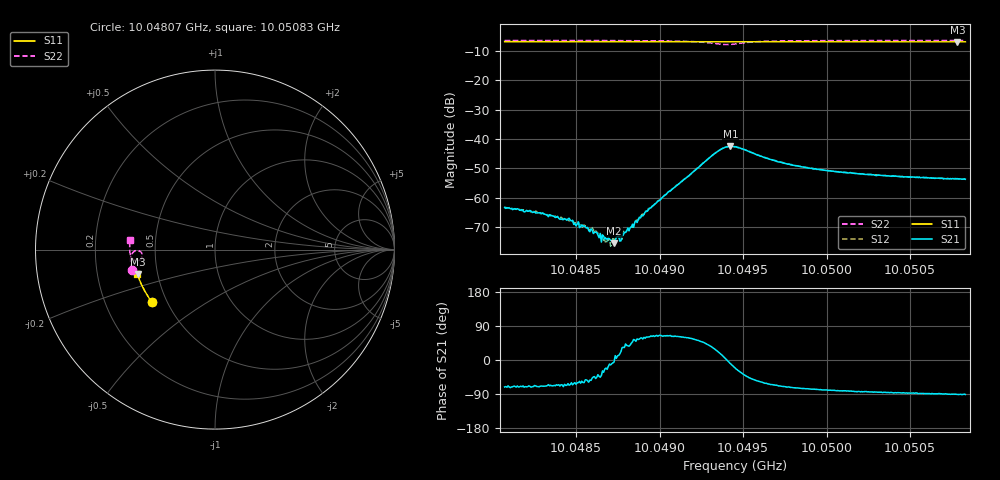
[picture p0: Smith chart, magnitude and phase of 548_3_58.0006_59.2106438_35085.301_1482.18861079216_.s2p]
#  HZ  S  RI  R  50.00
! Rohde & Schwarz Vector Network Analyzer
! Rohde-Schwarz,ZNB20-2Port,1311601062101988,3.16
! Created: UTC 3/21/2024, 1:14:53 AM
! freq[Hz]  re:S11  im:S11  re:S21  im:S21  re:S12  im:S12  re:S22  im:S22
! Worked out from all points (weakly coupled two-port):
!   401 points, 10.04807 GHz to 10.05083 GHz, reference 50 ohm
!   highest |S21| = -42.48 dB at 10.04942 GHz (marker M1); lowest = -75.5 dB at 10.04873 GHz (marker M2)
!   lowest |S11| = -6.9 dB at 10.05078 GHz (marker M3), VSWR 2.65, Z = 19.2 - j6.61 ohm
!   |S11| at or under -10 dB: nowhere
!   |S22| runs from -7.8 to -6.4 dB; largest |S21 - S12| = 0.00054
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1.0048073e10  -0.3503 -0.2934  0.000222 -0.000649  0.000271 -0.000603  -0.4639 -0.1139
1.0048266e10  -0.358 -0.2833  0.000187 -0.000518  0.000208 -0.000536  -0.4666 -0.1007
1.0048466e10  -0.3657 -0.2726  0.000175 -0.000375  0.000222 -0.000355  -0.4688 -0.0862
1.0048535e10  -0.3681 -0.2688  0.000193 -0.000285  0.000162 -0.000263  -0.4693 -0.081
1.0048631e10  -0.372 -0.2636  0.000182 -0.000146  0.000188 -0.00016  -0.4702 -0.0733
1.0048638e10  -0.3722 -0.2632  0.000152 -0.000143  0.000207 -0.00015  -0.4703 -0.0729
1.004868e10  -0.3737 -0.261  0.000196 -7.7e-05  0.000147 -7.81e-05  -0.4704 -0.0696
1.0048721e10  -0.3751 -0.2586  0.000188 -2.58e-05  0.000201 -2.37e-05  -0.4705 -0.0661
1.0048728e10  -0.3754 -0.2581  0.000167 -1.64e-05  0.000176 1.24e-05  -0.4704 -0.0655
1.0048776e10  -0.3771 -0.2557  0.000187 0.000119  0.000178 8.38e-05  -0.4705 -0.0616
1.0048797e10  -0.3778 -0.2546  0.000189 0.000173  0.000196 0.000171  -0.4706 -0.0597
1.0048824e10  -0.3788 -0.2529  0.000238 0.000196  0.000198 0.000239  -0.4707 -0.0573
1.0048859e10  -0.38 -0.251  0.000261 0.000305  0.000228 0.000342  -0.4706 -0.0542
1.0048997e10  -0.3846 -0.2432  0.000383 0.000809  0.000373 0.000821  -0.4691 -0.0407
1.0049335e10  -0.3951 -0.2236  0.00516 0.00267  0.00498 0.00302  -0.4223 -0.00739
1.0049424e10  -0.3974 -0.2189  0.00741 -0.00125  0.00748 -0.000766  -0.406 -0.0422
1.0049452e10  -0.3985 -0.2173  0.00691 -0.00267  0.00709 -0.00219  -0.4126 -0.0535
1.00497e10  -0.406 -0.2029  0.00166 -0.00383  0.00189 -0.00381  -0.4659 -0.0421
1.0049914e10  -0.412 -0.1902  0.000718 -0.00307  0.000873 -0.00308  -0.4735 -0.0191
1.0050376e10  -0.423 -0.162  0.000155 -0.00235  0.000315 -0.00233  -0.4754 0.0188
1.0050783e10  -0.4311 -0.1367  -3e-05 -0.00212  0.000113 -0.00208  -0.4735 0.0478
1.0050831e10  -0.4322 -0.1336  -3.65e-05 -0.00207  8.95e-05 -0.0021  -0.4731 0.0512
